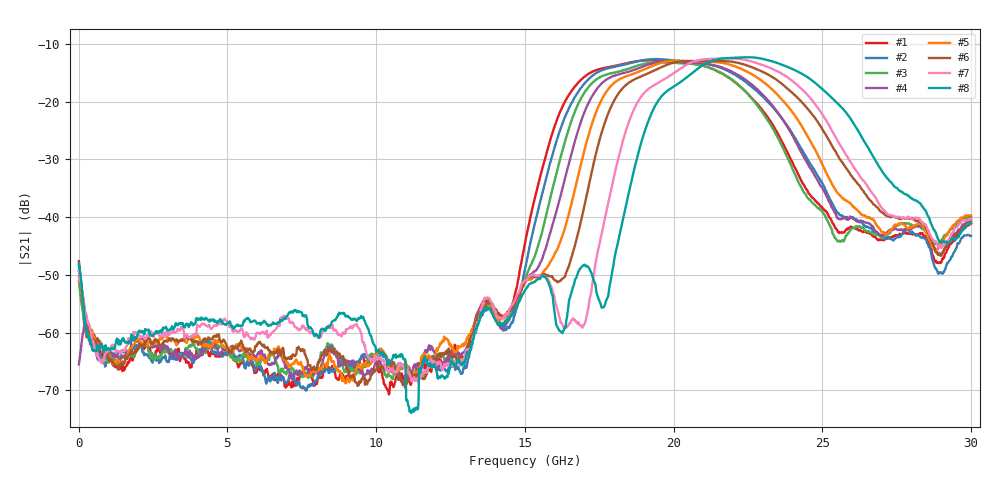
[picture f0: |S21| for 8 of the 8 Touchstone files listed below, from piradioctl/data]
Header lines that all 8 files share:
!Agilent Technologies,E8364B,MY43040894,A.07.50.67
!Agilent E8364B: A.07.50.67
!Correction: S11(Full 2 Port(1,2))
!S21(Full 2 Port(1,2))
!S12(Full 2 Port(1,2))
!S22(Full 2 Port(1,2))
!S2P File: Measurements: S11, S21, S12, S22:
# Hz S  dB  R 50
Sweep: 10 MHz to 30 GHz
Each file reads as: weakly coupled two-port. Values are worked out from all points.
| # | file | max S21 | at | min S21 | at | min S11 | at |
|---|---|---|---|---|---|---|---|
| 1 | AM3153_SN2_5V_6mA_Band3_0110.s2p | -12.87 dB | 19.15 GHz | -70.7 dB | 10.43 GHz | -14.7 dB | 19.09 GHz |
| 2 | AM3153_SN2_5V_6mA_Band3_0111.s2p | -12.65 dB | 19.43 GHz | -70.0 dB | 7.657 GHz | -14.5 dB | 19.32 GHz |
| 3 | AM3153_SN2_5V_6mA_Band3_1000.s2p | -13.19 dB | 19.48 GHz | -68.2 dB | 11.37 GHz | -13.1 dB | 19.32 GHz |
| 4 | AM3153_SN2_5V_6mA_Band3_1001.s2p | -13.07 dB | 19.82 GHz | -68.8 dB | 10.92 GHz | -12.6 dB | 19.56 GHz |
| 5 | AM3153_SN2_5V_6mA_Band3_1010.s2p | -12.93 dB | 20.12 GHz | -68.8 dB | 8.988 GHz | -11.7 dB | 19.88 GHz |
| 6 | AM3153_SN2_5V_6mA_Band3_1011.s2p | -12.97 dB | 20.52 GHz | -69.5 dB | 10.98 GHz | -11.3 dB | 20.23 GHz |
| 7 | AM3153_SN2_5V_6mA_Band3_1100.s2p | -12.52 dB | 21.77 GHz | -68.6 dB | 11.41 GHz | -10.8 dB | 20.8 GHz |
| 8 | AM3153_SN2_5V_6mA_Band3_1101.s2p | -12.34 dB | 22.48 GHz | -73.9 dB | 11.18 GHz | -10.3 dB | 21.34 GHz |
